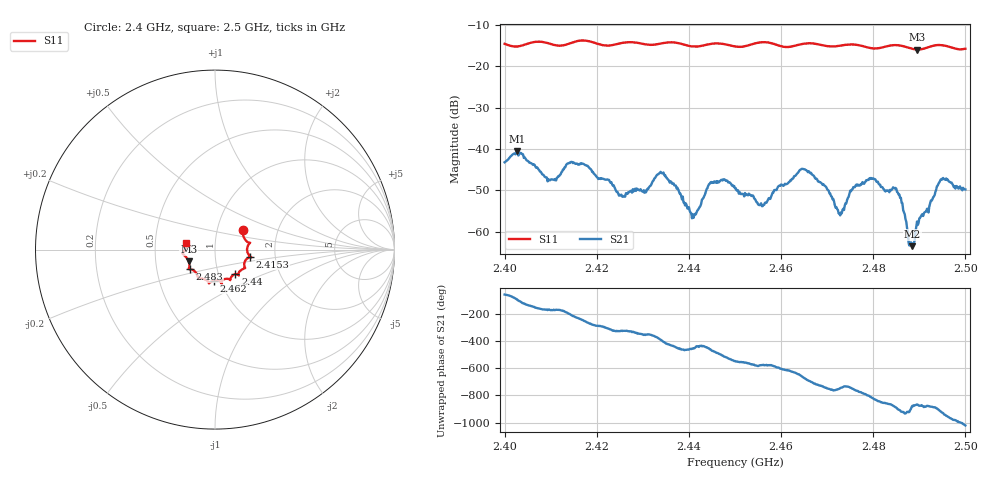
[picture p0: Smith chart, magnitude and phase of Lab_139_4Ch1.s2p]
# Hz S RI R 50
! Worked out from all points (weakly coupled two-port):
!   601 points, 2.4 GHz to 2.5 GHz, reference 50 ohm
!   highest |S21| = -40.44 dB at 2.4027 GHz (marker M1); lowest = -63.5 dB at 2.4885 GHz (marker M2)
!   lowest |S11| = -15.9 dB at 2.4895 GHz (marker M3), VSWR 1.38, Z = 36.9 - j4.99 ohm
!   |S11| at or under -10 dB: start of sweep to end of sweep
!   S12 and S22 are empty: the file has one direction only
!   S11 on the Smith chart (normalised r, x): 2.4 GHz: 1.33, +0.29; 2.4153 GHz: 1.48, -0.12; 2.44 GHz: 1.20, -0.34; 2.462 GHz: 0.93, -0.33; 2.483 GHz: 0.74, -0.17; 2.5 GHz: 0.72, +0.06
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2.4e9  0.1551 0.1064  0.00355 -0.00595  0 0  0 0
2.402667e9  0.1626 0.0636  -0.000479 -0.0095  0 0  0 0
2.409833e9  0.1865 0.0276  -0.00414 -0.000562  0 0  0 0
2.415333e9  0.1964 -0.0385  -0.00474 0.00464  0 0  0 0
2.416667e9  0.2019 -0.0426  -0.00304 0.00588  0 0  0 0
2.425667e9  0.1664 -0.0989  0.00218 0.00149  0 0  0 0
2.433333e9  0.1311 -0.1337  0.00467 -0.00162  0 0  0 0
2.44e9  0.1137 -0.1366  -0.000467 -0.00193  0 0  0 0
2.445e9  0.0847 -0.1684  -0.00149 -0.00359  0 0  0 0
2.45e9  0.0648 -0.1625  -0.00331 0.00043  0 0  0 0
2.455833e9  0.0379 -0.1929  -0.00163 0.00122  0 0  0 0
2.462e9  -0.00526 -0.1732  -0.000658 0.00414  0 0  0 0
2.466667e9  -0.0342 -0.1876  0.00473 0.00151  0 0  0 0
2.472667e9  -0.0769 -0.1606  0.00142 -0.00083  0 0  0 0
2.479e9  -0.1034 -0.1337  0.000601 -0.00418  0 0  0 0
2.483e9  -0.1377 -0.1095  -0.00237 -0.00206  0 0  0 0
2.483333e9  -0.14 -0.1093  -0.00249 -0.00187  0 0  0 0
2.4855e9  -0.1459 -0.1064  -0.00282 0.000231  0 0  0 0
2.4885e9  -0.1428 -0.0799  -0.000612 -0.000269  0 0  0 0
2.4895e9  -0.1464 -0.0659  -0.00111 -0.000729  0 0  0 0
2.494833e9  -0.1801 -0.0204  -0.00388 0.00171  0 0  0 0
2.5e9  -0.1595 0.0394  0.00166 0.00279  0 0  0 0
